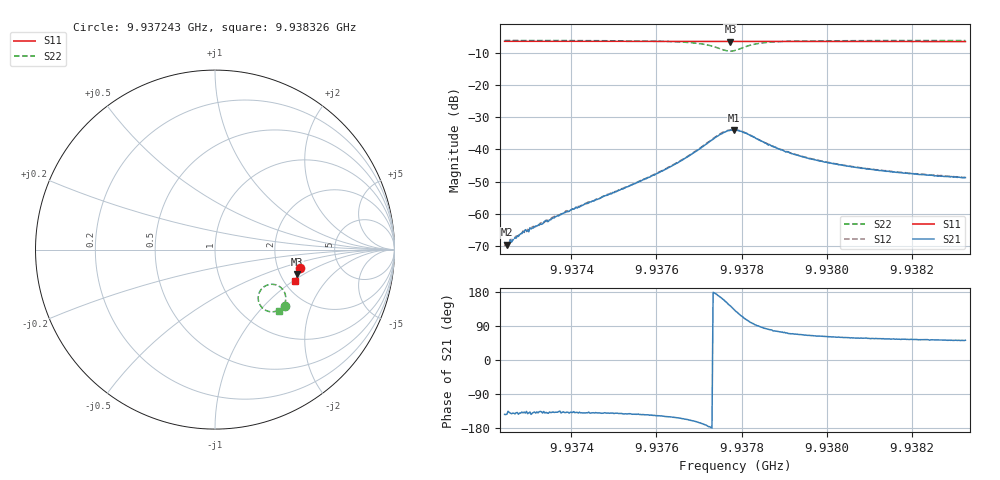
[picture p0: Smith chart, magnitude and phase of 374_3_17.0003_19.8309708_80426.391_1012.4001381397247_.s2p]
#  HZ  S  RI  R  50.00
! Rohde & Schwarz Vector Network Analyzer
! Rohde-Schwarz,ZNB20-2Port,1311601062101988,3.16
! Created: UTC 3/20/2024, 11:08:52 PM
! freq[Hz]  re:S11  im:S11  re:S21  im:S21  re:S12  im:S12  re:S22  im:S22
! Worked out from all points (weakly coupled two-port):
!   401 points, 9.937243 GHz to 9.938326 GHz, reference 50 ohm
!   highest |S21| = -33.92 dB at 9.937782 GHz (marker M1); lowest = -69.6 dB at 9.937249 GHz (marker M2)
!   lowest |S11| = -6.4 dB at 9.937774 GHz (marker M3), VSWR 2.84, Z = 123 - j44.3 ohm
!   |S11| at or under -10 dB: nowhere
!   |S22| runs from -9.4 to -6.0 dB; largest |S21 - S12| = 0.00084
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9.9372433e9  0.4723 -0.1046  -0.000285 -0.000211  -0.000247 -0.00019  0.3876 -0.313
9.9372487e9  0.4722 -0.1048  -0.000264 -0.0002  -0.000258 -0.000236  0.3872 -0.3133
9.9372622e9  0.4719 -0.1058  -0.000295 -0.000244  -0.000326 -0.000241  0.3862 -0.3142
9.937292e9  0.4714 -0.1078  -0.000433 -0.00036  -0.000405 -0.000362  0.3843 -0.3164
9.9373028e9  0.4711 -0.1086  -0.000443 -0.000409  -0.000443 -0.000379  0.3834 -0.3171
9.9373597e9  0.4699 -0.1124  -0.000641 -0.00057  -0.000649 -0.000627  0.3787 -0.3214
9.9374247e9  0.4687 -0.1167  -0.00101 -0.000875  -0.00104 -0.000845  0.3725 -0.3263
9.9375384e9  0.4659 -0.1244  -0.00215 -0.00169  -0.00221 -0.00166  0.3568 -0.3367
9.937606e9  0.4644 -0.1289  -0.00366 -0.00235  -0.00379 -0.00235  0.3408 -0.3432
9.9376602e9  0.4629 -0.1325  -0.00613 -0.00288  -0.00629 -0.00286  0.318 -0.3467
9.9377143e9  0.461 -0.1361  -0.0116 -0.00188  -0.0119 -0.00167  0.2739 -0.333
9.9377495e9  0.4594 -0.1377  -0.0166 0.00397  -0.0169 0.00436  0.2414 -0.281
9.9377739e9  0.4587 -0.1383  -0.0159 0.0121  -0.0157 0.0128  0.2595 -0.2194
9.937782e9  0.4587 -0.1387  -0.014 0.0145  -0.0135 0.015  0.2777 -0.2041
9.9377847e9  0.4588 -0.1387  -0.013 0.0151  -0.0129 0.0157  0.2847 -0.2005
9.9378064e9  0.4592 -0.1396  -0.00629 0.0172  -0.00598 0.0175  0.3395 -0.1963
9.9378416e9  0.459 -0.1421  0.000269 0.014  0.00066 0.0141  0.3844 -0.2326
9.9378984e9  0.4579 -0.1463  0.0029 0.00913  0.00308 0.00919  0.3941 -0.2764
9.9379661e9  0.4563 -0.1509  0.00304 0.00634  0.00321 0.00635  0.3883 -0.3018
9.9380581e9  0.4541 -0.1571  0.0028 0.00459  0.00293 0.0046  0.3793 -0.3192
9.9381475e9  0.4516 -0.1629  0.00256 0.00373  0.0027 0.00374  0.3715 -0.3296
9.9383262e9  0.4466 -0.1742  0.00224 0.00287  0.00234 0.00284  0.3588 -0.3441
